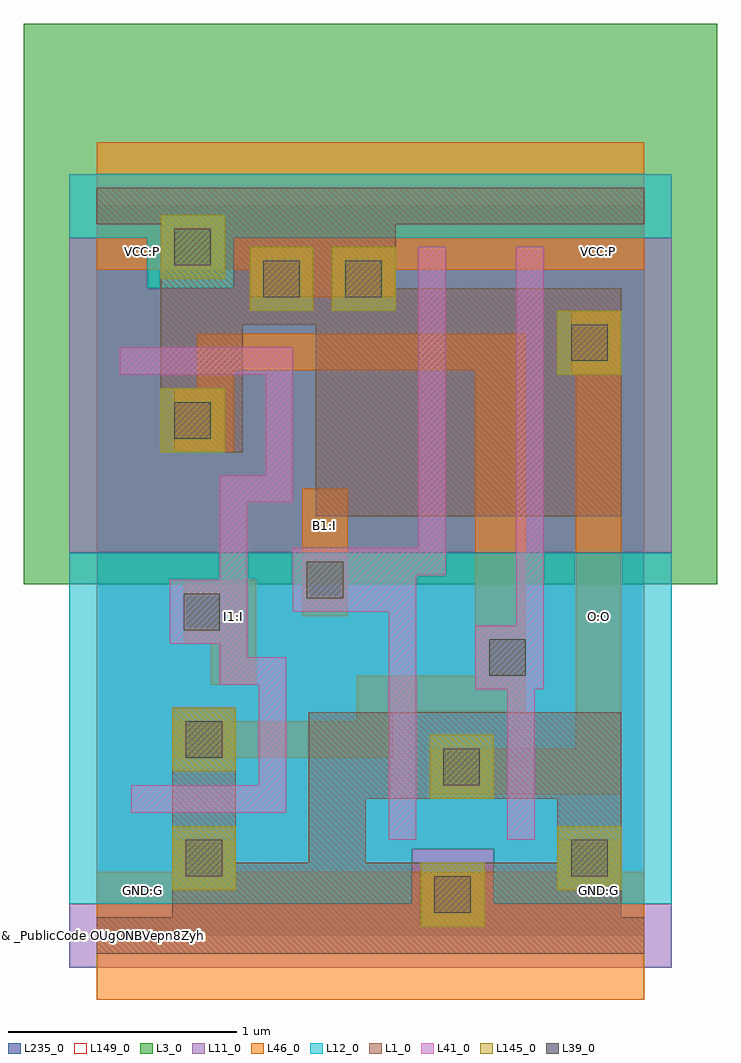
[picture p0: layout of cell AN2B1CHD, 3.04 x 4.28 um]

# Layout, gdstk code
from math import pi, radians
import gdstk
lib = gdstk.Library(unit=1e-6, precision=1e-09)
def R(c, l, rs):  # rectangles x0, y0, x1, y1
    for r in rs: c.add(gdstk.rectangle(r[:2], r[2:], *l))
def P(c, l, *ps):  # polygons
    for p in ps: c.add(gdstk.Polygon(p, *l))
L1_0 = (1, 0)
L3_0 = (3, 0)
L11_0 = (11, 0)
L12_0 = (12, 0)
L39_0 = (39, 0)
L41_0 = (41, 0)
L46_0 = (46, 0)
L145_0 = (145, 0)
L149_0 = (149, 0)
L235_0 = (235, 0)

c_pc = lib.new_cell('PC')
R(c_pc, L39_0, [(-0.08,-0.08,0.08,0.08)])
R(c_pc, L41_0, [(-0.14,-0.14,0.14,0.14)])
R(c_pc, L46_0, [(-0.08,-0.14,0.08,0.14)])

c_mc = lib.new_cell('MC')
R(c_mc, L39_0, [(-0.08,-0.08,0.08,0.08)])
R(c_mc, L46_0, [(-0.08,-0.14,0.08,0.14)])
R(c_mc, L145_0, [(-0.14,-0.14,0.14,0.14)])

fhlenmjnbpl__41gum4xw0 = lib.new_cell('FHLENMJNBPL$$41Gum4XW0')
R(fhlenmjnbpl__41gum4xw0, L1_0, [(0,-0.08,2.4,0.08), (0.33,0.08,0.61,1), (0.61,0.08,2.3,0.32), (0,3.12,2.4,3.28)])
P(fhlenmjnbpl__41gum4xw0, L1_0, [(0.96,3.12),(0.28,3.12),(0.28,2.12),(0.64,2.12),(0.64,2.68),(0.96,2.68)],
  [(2.3,0.98),(0.93,0.98),(0.93,0.32),(1.18,0.32),(1.18,0.6),(2.02,0.6),(2.02,0.32),(2.3,0.32)],
  [(2.3,2.84),(1.31,2.84),(1.31,3.12),(0.96,3.12),(0.96,1.84),(2.3,1.84)])
R(fhlenmjnbpl__41gum4xw0, L3_0, [(-0.32,1.54,2.72,4)])
R(fhlenmjnbpl__41gum4xw0, L11_0, [(-0.12,-0.14,2.52,0.14), (-0.12,-0.14,2.52,0.14), (-0.12,-0.14,2.52,0.14), (1.38,0.14,1.74,0.38)])
P(fhlenmjnbpl__41gum4xw0, L11_0, [(2.52,3.06),(0.6,3.06),(0.6,2.84),(0.22,2.84),(0.22,3.06),(-0.12,3.06),(-0.12,1.68),(2.52,1.68)])
P(fhlenmjnbpl__41gum4xw0, L12_0, [(2.52,1.68),(-0.12,1.68),(-0.12,0.14),(1.38,0.14),(1.38,0.38),(1.74,0.38),(1.74,0.14),(2.52,0.14)],
  [(2.52,3.34),(-0.12,3.34),(-0.12,3.06),(0.22,3.06),(0.22,2.84),(0.6,2.84),(0.6,3.06),(2.52,3.06)])
R(fhlenmjnbpl__41gum4xw0, L41_0, [(1,1.42,1.4,1.7)])
R(fhlenmjnbpl__41gum4xw0, L46_0, [(1.66,1.06,1.8,2.48), (0.67,2.8,1.31,2.92)])
R(fhlenmjnbpl__41gum4xw0, L149_0, [(0,0,2.4,3.2)])
R(fhlenmjnbpl__41gum4xw0, L235_0, [(0,0,2.4,3.2), (0,0,2.4,3.2), (0,0,2.4,3.2), (0,0,2.4,3.2), (0,0,2.4,3.2), (0,0,2.4,3.2), (0,0,2.4,3.2), (0,0,2.4,3.2), (0,0,2.4,3.2), (0,0,2.4,3.2), (0,0,2.4,3.2), (0,0,2.4,3.2)])
fhlenmjnbpl__41gum4xw0.add(gdstk.FlexPath([(0,0),(2.4,0)], 0.56, ends="flush", simple_path=True, layer=46, datatype=0))  # L46_0
fhlenmjnbpl__41gum4xw0.add(gdstk.FlexPath([(0,3.2),(2.4,3.2)], 0.56, ends="flush", simple_path=True, layer=46, datatype=0))  # L46_0
fhlenmjnbpl__41gum4xw0.add(gdstk.FlexPath([(0.6,1.1),(0.6,1.56)], 0.2, ends="flush", simple_path=True, layer=46, datatype=0))  # L46_0
fhlenmjnbpl__41gum4xw0.add(gdstk.FlexPath([(0.52,2.12),(0.52,2.56),(1.8,2.56),(1.8,1.06),(1.22,1.06),(1.22,0.86),(0.33,0.86)], 0.16, ends="flush", simple_path=True, layer=46, datatype=0))  # L46_0
fhlenmjnbpl__41gum4xw0.add(gdstk.FlexPath([(1,1.4),(1,1.96)], 0.2, ends="flush", simple_path=True, layer=46, datatype=0))  # L46_0
fhlenmjnbpl__41gum4xw0.add(gdstk.FlexPath([(2.2,2.74),(2.2,0.72),(1.46,0.72)], 0.2, ends="flush", simple_path=True, layer=46, datatype=0))  # L46_0
fhlenmjnbpl__41gum4xw0.add(gdstk.FlexPath([(0.6,0),(0.6,3.2)], 0, ends="flush", simple_path=True, layer=145, datatype=0))  # L145_0
fhlenmjnbpl__41gum4xw0.add(gdstk.FlexPath([(1,0),(1,3.2)], 0, ends="flush", simple_path=True, layer=145, datatype=0))  # L145_0
fhlenmjnbpl__41gum4xw0.add(gdstk.FlexPath([(1.4,0),(1.4,3.2)], 0, ends="flush", simple_path=True, layer=145, datatype=0))  # L145_0
fhlenmjnbpl__41gum4xw0.add(gdstk.FlexPath([(1.8,0),(1.8,3.2)], 0, ends="flush", simple_path=True, layer=145, datatype=0))  # L145_0
fhlenmjnbpl__41gum4xw0.add(gdstk.FlexPath([(2.2,0),(2.2,3.2)], 0, ends="flush", simple_path=True, layer=145, datatype=0))  # L145_0
fhlenmjnbpl__41gum4xw0.add(gdstk.FlexPath([(0,0.2),(2.4,0.2)], 0, ends="flush", simple_path=True, layer=145, datatype=0))  # L145_0
fhlenmjnbpl__41gum4xw0.add(gdstk.FlexPath([(0,0.6),(2.4,0.6)], 0, ends="flush", simple_path=True, layer=145, datatype=0))  # L145_0
fhlenmjnbpl__41gum4xw0.add(gdstk.FlexPath([(0,1),(2.4,1)], 0, ends="flush", simple_path=True, layer=145, datatype=0))  # L145_0
fhlenmjnbpl__41gum4xw0.add(gdstk.FlexPath([(0.2,0),(0.2,3.2)], 0, ends="flush", simple_path=True, layer=145, datatype=0))  # L145_0
fhlenmjnbpl__41gum4xw0.add(gdstk.FlexPath([(0,1.4),(2.4,1.4)], 0, ends="flush", simple_path=True, layer=145, datatype=0))  # L145_0
fhlenmjnbpl__41gum4xw0.add(gdstk.FlexPath([(0,1.8),(2.4,1.8)], 0, ends="flush", simple_path=True, layer=145, datatype=0))  # L145_0
fhlenmjnbpl__41gum4xw0.add(gdstk.FlexPath([(0,2.2),(2.4,2.2)], 0, ends="flush", simple_path=True, layer=145, datatype=0))  # L145_0
fhlenmjnbpl__41gum4xw0.add(gdstk.FlexPath([(0,2.6),(2.4,2.6)], 0, ends="flush", simple_path=True, layer=145, datatype=0))  # L145_0
fhlenmjnbpl__41gum4xw0.add(gdstk.FlexPath([(0,3),(2.4,3)], 0, ends="flush", simple_path=True, layer=145, datatype=0))  # L145_0
fhlenmjnbpl__41gum4xw0.add(gdstk.FlexPath([(1.9,3.02),(1.9,1.14),(1.86,1.14),(1.86,0.42)], 0.12, ends="flush", simple_path=True, layer=41, datatype=0))  # L41_0
fhlenmjnbpl__41gum4xw0.add(gdstk.FlexPath([(0.1,2.52),(0.8,2.52),(0.8,1.96),(0.6,1.96),(0.6,1.16),(0.77,1.16),(0.77,0.6),(0.15,0.6)], 0.12, ends="flush", simple_path=True, layer=41, datatype=0))  # L41_0
fhlenmjnbpl__41gum4xw0.add(gdstk.FlexPath([(1.47,3.02),(1.47,1.64),(1.34,1.64),(1.34,0.42)], 0.12, ends="flush", simple_path=True, layer=41, datatype=0))  # L41_0
r = gdstk.Reference(c_pc, (1,1.56)); r.repetition = gdstk.Repetition(1, 1, v1=(0.28,0), v2=(0,0.32)); fhlenmjnbpl__41gum4xw0.add(r)
r = gdstk.Reference(c_pc, (0.46,1.42)); r.repetition = gdstk.Repetition(1, 1, v1=(0.28,0), v2=(0,0.32)); fhlenmjnbpl__41gum4xw0.add(r)
r = gdstk.Reference(c_pc, (1.8,1.22)); r.repetition = gdstk.Repetition(1, 1, v1=(0.28,0), v2=(0,0.32)); fhlenmjnbpl__41gum4xw0.add(r)
r = gdstk.Reference(c_mc, (0.81,2.88), rotation=pi/2); r.repetition = gdstk.Repetition(1, 1, v1=(0,0.28), v2=(-0.32,0)); fhlenmjnbpl__41gum4xw0.add(r)
r = gdstk.Reference(c_mc, (1.56,0.18), rotation=pi/2); r.repetition = gdstk.Repetition(1, 1, v1=(0,0.28), v2=(-0.32,0)); fhlenmjnbpl__41gum4xw0.add(r)
r = gdstk.Reference(c_mc, (1.6,0.74), rotation=pi/2); r.repetition = gdstk.Repetition(1, 1, v1=(0,0.28), v2=(-0.32,0)); fhlenmjnbpl__41gum4xw0.add(r)
r = gdstk.Reference(c_mc, (0.42,3.02), rotation=pi/2, x_reflection=True); r.repetition = gdstk.Repetition(1, 1, v1=(0,0.28), v2=(0.32,0)); fhlenmjnbpl__41gum4xw0.add(r)
r = gdstk.Reference(c_mc, (1.17,2.88), rotation=pi/2); r.repetition = gdstk.Repetition(1, 1, v1=(0,0.28), v2=(-0.32,0)); fhlenmjnbpl__41gum4xw0.add(r)
r = gdstk.Reference(c_mc, (2.16,0.34), rotation=pi/2); r.repetition = gdstk.Repetition(1, 1, v1=(0,0.28), v2=(-0.32,0)); fhlenmjnbpl__41gum4xw0.add(r)
r = gdstk.Reference(c_mc, (0.47,0.34), rotation=pi/2); r.repetition = gdstk.Repetition(1, 1, v1=(0,0.28), v2=(-0.32,0)); fhlenmjnbpl__41gum4xw0.add(r)
r = gdstk.Reference(c_mc, (0.42,2.26)); r.repetition = gdstk.Repetition(1, 1, v1=(0.28,0), v2=(0,0.32)); fhlenmjnbpl__41gum4xw0.add(r)
r = gdstk.Reference(c_mc, (0.47,0.86), rotation=pi/2); r.repetition = gdstk.Repetition(1, 1, v1=(0,0.28), v2=(-0.32,0)); fhlenmjnbpl__41gum4xw0.add(r)
r = gdstk.Reference(c_mc, (2.16,2.6)); r.repetition = gdstk.Repetition(1, 1, v1=(0.28,0), v2=(0,0.32)); fhlenmjnbpl__41gum4xw0.add(r)
fhlenmjnbpl__41gum4xw0.add(gdstk.Label('#Id:7JQJaQKD4XF6RXVVSbbWNLABMd97ZL9aK99JL0406EKC574a4A3EOSP8MXXWHY99T6WBH22210RAL9', (0.02,0.02), layer=147, texttype=0))
fhlenmjnbpl__41gum4xw0.add(gdstk.Label('AN2B1CHD', (0,0), layer=144, texttype=0))
fhlenmjnbpl__41gum4xw0.add(gdstk.Label('VCC:P', (0.2,3), layer=101, texttype=0))
fhlenmjnbpl__41gum4xw0.add(gdstk.Label('VCC:P', (2.2,3), layer=101, texttype=0))
fhlenmjnbpl__41gum4xw0.add(gdstk.Label('GND:G', (0.2,0.2), layer=101, texttype=0))
fhlenmjnbpl__41gum4xw0.add(gdstk.Label('GND:G', (2.2,0.2), layer=101, texttype=0))
fhlenmjnbpl__41gum4xw0.add(gdstk.Label('I1:I', (0.6,1.4), layer=101, texttype=0))
fhlenmjnbpl__41gum4xw0.add(gdstk.Label('O:O', (2.2,1.4), layer=101, texttype=0))
fhlenmjnbpl__41gum4xw0.add(gdstk.Label('B1:I', (1,1.8), layer=101, texttype=0))

an2b1chd = lib.new_cell('AN2B1CHD')
R(an2b1chd, L149_0, [(0,0,2.4,3.2)])
an2b1chd.add(gdstk.Reference(fhlenmjnbpl__41gum4xw0, (0,0)))
an2b1chd.add(gdstk.Label('& _PublicCode OUgONBVepn8Zyhuhb7nzKSFGv0ozQ4p7', (0,0), layer=3, texttype=0))
an2b1chd.add(gdstk.Label('& Metric 7.68', (0,0), layer=3, texttype=0))
an2b1chd.add(gdstk.Label('& Version 2009Q1V3.0', (0,0), layer=3, texttype=0))
an2b1chd.add(gdstk.Label('& Product FSC0H_D_GENERIC_CORE', (0,0), layer=3, texttype=0))
an2b1chd.add(gdstk.Label('& Vendor Faraday_Technology_Corp.', (0,0), layer=3, texttype=0))
an2b1chd.add(gdstk.Label('#Id:7JQJaQKD4XF6RXVVSbbWNLABMd97ZL9aK99JL0406EKC574a4A3EOSP8MXXWHY99T6WBH22210RAL9', (0.02,0.02), layer=147, texttype=0))
an2b1chd.add(gdstk.Label('AN2B1CHD', (0,0), layer=144, texttype=0))
an2b1chd.add(gdstk.Label('VCC:P', (0.2,3), layer=101, texttype=0))
an2b1chd.add(gdstk.Label('VCC:P', (2.2,3), layer=101, texttype=0))
an2b1chd.add(gdstk.Label('GND:G', (0.2,0.2), layer=101, texttype=0))
an2b1chd.add(gdstk.Label('GND:G', (2.2,0.2), layer=101, texttype=0))
an2b1chd.add(gdstk.Label('I1:I', (0.6,1.4), layer=101, texttype=0))
an2b1chd.add(gdstk.Label('O:O', (2.2,1.4), layer=101, texttype=0))
an2b1chd.add(gdstk.Label('B1:I', (1,1.8), layer=101, texttype=0))

lib.write_gds('AN2B1CHD.gds')
